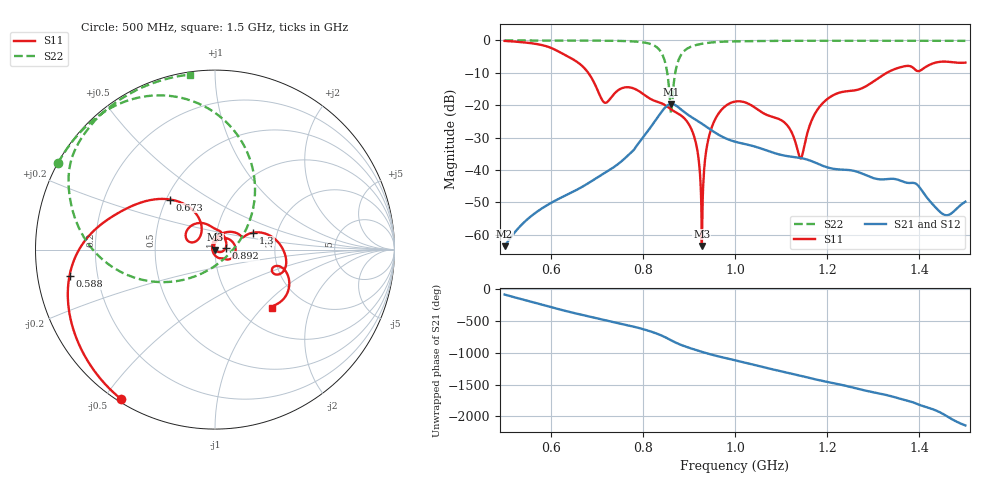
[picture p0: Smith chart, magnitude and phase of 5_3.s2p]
! TOUCHSTONE file generated by CST MICROWAVE STUDIO
! Date and time: Fri Oct 30 07:49:26 2020
! Project name: Scenario_1_Circular_Tissue_out_of_Line.cst
! Parameters = {dy1=-276.636; L_HA=400; MT=2.54; Rad_Dielectric=30; Rad_Lower=7.3; Rad_Upper=30; a_HA=580; a_WG=246; b_HA=500; b_WG=121; c_HA=0; c_WG=187; d_feed=85; dx1=520; h_feed=15; h_lower=18; h_upper=40}
! Header version: 2018
! Port assignment regex: !\s*Touchstone port\s*([0-9]+)\s*=\s*(CST MWS port|CST DS port)\s*([0-9]+|Zmin|Zmax)\s*\(\"(.*)\"\)(\s*mode\s*([0-9]+))?.*
! Touchstone port assignment:
! Touchstone port 1 = CST MWS port 1 ("")
! Touchstone port 2 = CST MWS port 2 ("")
# GHz S DB R 50
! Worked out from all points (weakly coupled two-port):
!   1001 points, 500 MHz to 1.5 GHz, reference 50 ohm
!   highest |S21| = -19.60 dB at 862 MHz (marker M1); lowest = -63.5 dB at 500 MHz (marker M2)
!   lowest |S11| = -63.4 dB at 928 MHz (marker M3), VSWR 1.00, Z = 50.1 - j0.0184 ohm
!   |S11| at or under -10 dB: 681.5 MHz to 1.329 GHz (647.8 MHz wide, 64.4 % of centre)
!   |S22| runs from -22.7 to 0.0 dB; largest |S21 - S12| = 0.00081
!   S11 on the Smith chart (normalised r, x): 500 MHz: 0.01, -0.55; 588 MHz: 0.10, -0.09; 673 MHz: 0.52, +0.34; 892 MHz: 1.13, +0.02; 1.3 GHz: 1.50, +0.30; 1.5 GHz: 1.39, -1.14
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0.5  -0.15 -122.3  -63.49 -79.6  -63.45 -80.1  -0.01 151.1
0.588  -1.69 -169.8  -51.20 106.9  -51.19 106.9  -0.02 145.1
0.667  -7.71 136.7  -45.29 -38.0  -45.28 -38.0  -0.04 138.4
0.673  -8.54 131.8  -44.80 -47.9  -44.79 -48.0  -0.04 137.9
0.717  -19.20 140.8  -40.91 -122.5  -40.91 -122.4  -0.08 132.9
0.766  -14.43 142.4  -35.71 157.4  -35.66 157.8  -0.22 124.6
0.834  -19.05 83.2  -23.34 14.7  -23.34 14.7  -2.58 88.0
0.862  -21.35 51.0  -19.60 -82.5  -19.58 -82.6  -22.43 -68.0
0.875  -22.43 35.7  -20.41 -128.7  -20.40 -128.8  -7.09 -157.8
0.892  -24.34 9.7  -22.32 -177.2  -22.32 -177.2  -2.96 177.0
0.915  -31.59 -31.2  -24.50 127.6  -24.49 127.6  -1.44 161.7
0.928  -63.44 -15.9  -25.68 98.2  -25.68 98.2  -1.03 156.7
0.95  -26.62 83.7  -27.82 52.6  -27.81 52.6  -0.61 150.3
1  -18.87 7.7  -31.24 -34.7  -31.24 -34.7  -0.28 140.7
1.106  -25.16 -61.0  -35.51 142.7  -35.51 142.8  -0.12 129.5
1.142  -36.43 -164.6  -36.28 82.0  -36.29 82.0  -0.11 126.4
1.167  -24.48 89.3  -37.29 37.2  -37.31 37.2  -0.10 124.4
1.3  -12.70 24.1  -42.47 -178.7  -42.47 -178.5  -0.08 114.3
1.334  -9.64 11.9  -42.74 128.4  -42.79 128.4  -0.09 111.7
1.393  -9.23 -21.7  -44.25 4.4  -44.28 4.4  -0.10 107.1
1.455  -6.53 -34.4  -53.85 -174.8  -53.85 -174.4  -0.11 102.1
1.5  -6.85 -45.5  -49.77 18.6  -49.83 18.2  -0.13 98.2
